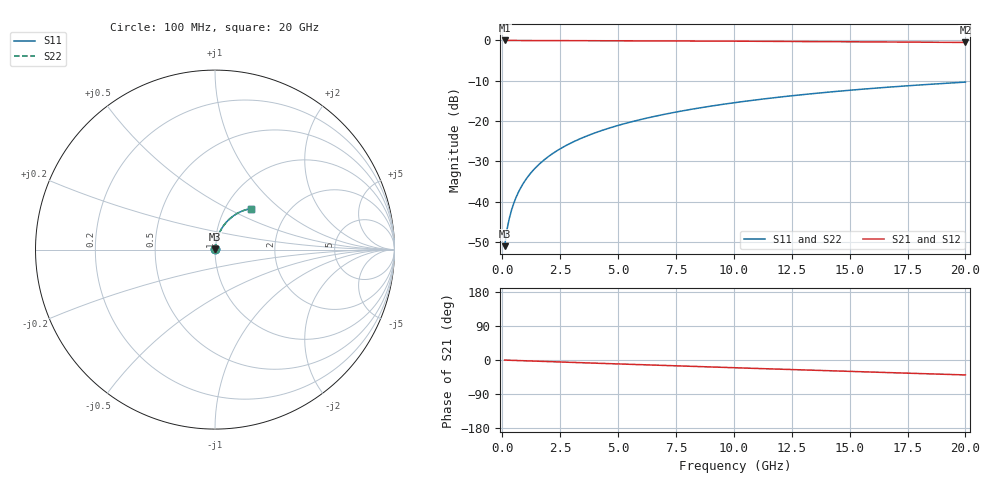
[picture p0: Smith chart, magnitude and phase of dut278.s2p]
! Touchstone file exported from HFSS 2026.1.0
!  File:  C:/ffzhzh/LocalFiles/Ansys_Project_Files/temp_train_BSMRDL_278_1782989074_40604.aedt
!  Generated:  06:45:52 PM Jul  2, 2026
!  Design:  BSMRDL
!  Project:  temp_train_BSMRDL_278_1782989074_40604
! Variables:
!  h_bsmrdl = 4.83um
!  h_ox = 20um
!  h_rdl = 5um
!  h_sub = 80um
!  h_tmrdl = 5um
!  h_tsv = 80um
!  h_via = 3um
!  l_bsmrdl = 606.29um
!  l_sub = 1006.29um
!  l_tmrdl = 200um
!  m_sub = 200um
!  pitch = 48.37um
!  r_tsv = 6um
!  s_tmrdl = 10um
!  w_bsmrdl = 25.99um
!  w_sub = 500um
!  w_tmrdl = 12um
!  x_tsv_center1 = 206um
!  x_tsv_center2 = 838.28um
!  x_tsv_center3 = 1050.28um
!  x_tsv_center4 = 1682.56um
!  x_tsv_center5 = 1894.56um
!  x_tsv_center6 = 2526.84um
# GHz S MA R 50.000000
! Terminal data exported
! Port[1] = BSM_RDL1_1_T1
! Port[2] = BSM_RDL1_1_T2
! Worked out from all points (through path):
!   200 points, 100 MHz to 20 GHz, reference 50 ohm
!   highest |S21| = -0.02 dB at 100 MHz (marker M1); lowest = -0.5 dB at 20 GHz (marker M2)
!   group delay of S21, straight-line fit = 5.47 ps
!   lowest |S11| = -51.0 dB at 100 MHz (marker M3), VSWR 1.01, Z = 50.2 + j0.205 ohm
!   |S11| at or under -10 dB: start of sweep to end of sweep
!   |S22| runs from -51.0 to -10.3 dB; largest |S21 - S12| = 2.7e-15
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0.1  0.002808 46.5  0.9981 -0.2  0.9981 -0.2  0.002808 46.5
! Gamma 0 0 0 0
! Port Impedance 50 0 50 0
0.2  0.004459 61.6  0.9979 -0.4  0.9979 -0.4  0.004459 61.6
0.3  0.006162 68.3  0.9978 -0.6  0.9978 -0.6  0.006162 68.3
0.4  0.007885 72.3  0.9977 -0.9  0.9977 -0.9  0.007885 72.3
0.5  0.00963 74.8  0.9976 -1.1  0.9976 -1.1  0.00963 74.8
0.6  0.01139 76.6  0.9975 -1.3  0.9975 -1.3  0.01139 76.6
0.8  0.01495 78.8  0.9974 -1.7  0.9974 -1.7  0.01495 78.8
1.1  0.02032 80.3  0.9972 -2.3  0.9972 -2.3  0.02032 80.3
1.5  0.02749 81.0  0.9968 -3.2  0.9968 -3.2  0.02749 81.0
1.8  0.03286 81.0  0.9965 -3.8  0.9965 -3.8  0.03286 81.0
2.1  0.0382 80.9  0.9961 -4.4  0.9961 -4.4  0.0382 80.9
2.7  0.04878 80.2  0.9953 -5.7  0.9953 -5.7  0.04879 80.2
3.5  0.0627 78.9  0.9939 -7.3  0.9939 -7.3  0.0627 78.9
4.2  0.0747 77.7  0.9926 -8.7  0.9926 -8.7  0.0747 77.7
5  0.08821 76.3  0.991 -10.4  0.991 -10.4  0.08821 76.3
5.9  0.1032 74.7  0.989 -12.2  0.989 -12.2  0.1032 74.7
6.8  0.1179 73.0  0.9869 -14.0  0.9869 -14.0  0.1179 73.0
8.3  0.142 70.2  0.983 -17.0  0.983 -17.0  0.142 70.2
10.1  0.17 66.9  0.9779 -20.6  0.9779 -20.6  0.17 66.9
13.4  0.2186 60.8  0.9673 -27.0  0.9673 -27.0  0.2186 60.8
16.7  0.2634 54.7  0.9555 -33.3  0.9555 -33.3  0.2634 54.7
20  0.3037 48.8  0.943 -39.4  0.943 -39.4  0.3038 48.8
